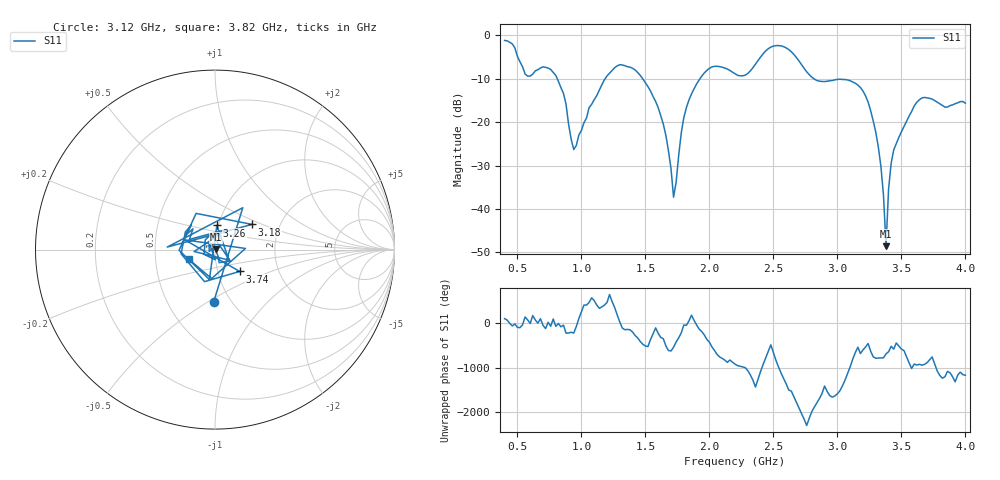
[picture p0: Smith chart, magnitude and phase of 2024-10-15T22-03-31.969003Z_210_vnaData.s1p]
! Created with skrf (http://scikit-rf.org).
# Hz S RI R 50.0
!freq ReS11 ImS11
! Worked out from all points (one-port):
!   181 points, 400 MHz to 4 GHz, reference 50 ohm
!   lowest |S11| = -48.6 dB at 3.38 GHz (marker M1), VSWR 1.01, Z = 50.3 + j0.176 ohm
!   |S11| at or under -10 dB: 811.1 MHz to 1.186 GHz (374.7 MHz wide, 37.5 % of centre); 1.478 GHz to 1.927 GHz (448.6 MHz wide, 26.3 % of centre); 2.815 GHz to end of sweep
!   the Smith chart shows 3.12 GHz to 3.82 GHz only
!   S11 on the Smith chart (normalised r, x): 3.12 GHz: 0.84, -0.53; 3.18 GHz: 1.44, +0.43; 3.26 GHz: 0.98, +0.27; 3.74 GHz: 1.27, -0.32; 3.82 GHz: 0.74, -0.08
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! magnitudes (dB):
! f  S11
! 400 MHz  -1.2
! 560 MHz  -8.9
! 740 MHz  -7.6
! 860 MHz  -13.4
! 940 MHz  -26.3
! 1.3 GHz  -6.8
! 1.6 GHz  -16.7
! 1.66 GHz  -23.1
! 1.72 GHz  -37.3
! 1.76 GHz  -27.7
! 1.82 GHz  -16.7
! 1.94 GHz  -9.4
! 2.2 GHz  -8.9
! 2.5 GHz  -2.5
! 2.66 GHz  -4.4
! 2.84 GHz  -10.4
! 3.1 GHz  -10.5
! 3.12 GHz  -10.8
! 3.18 GHz  -12.1
! 3.26 GHz  -17.4
! 3.34 GHz  -30.2
! 3.38 GHz  -48.6
! 3.4 GHz  -35.4
! 3.42 GHz  -29.5
! 3.56 GHz  -18.6
! 3.74 GHz  -14.7
! 3.82 GHz  -16.2
! 4 GHz  -15.7
